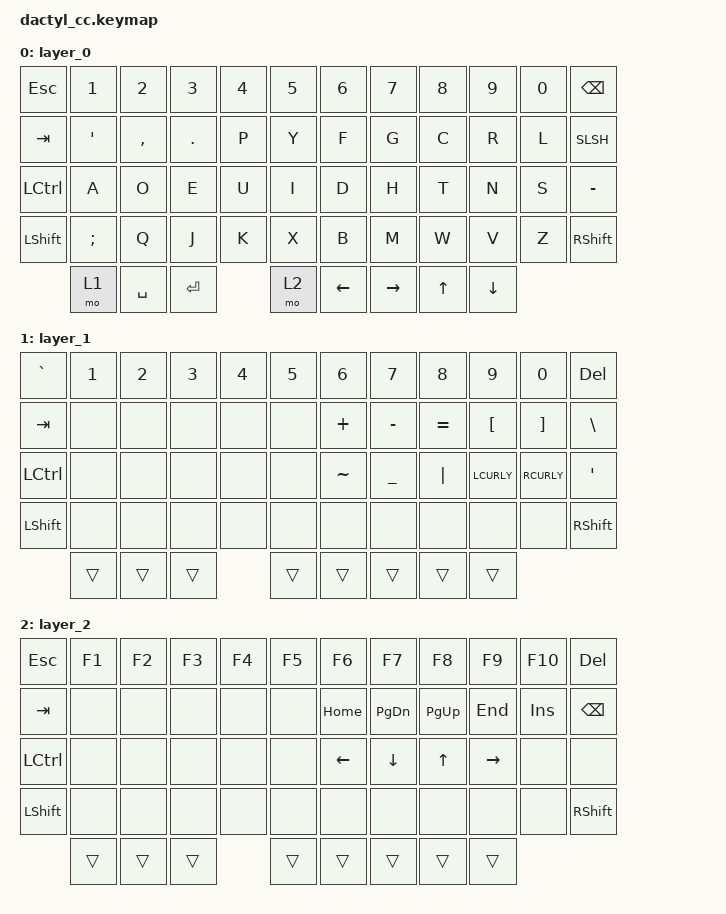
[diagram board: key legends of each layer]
#include <behaviors.dtsi>
#include <dt-bindings/zmk/keys.h>

&sl {
    release-after-ms = <5000>;
};

&kscan0 {
    debounce-press-ms = <30>;
    debounce-release-ms = <30>;
};

 / {
    keymap {
        compatible = "zmk,keymap";

        layer_0 {
            bindings = <
                &kp ESC     &kp N1     &kp N2     &kp N3     &kp N4     &kp N5     &kp N6     &kp N7     &kp N8     &kp N9     &kp N0     &kp BSPC
                &kp TAB     &kp SQT    &kp COMMA  &kp DOT    &kp P      &kp Y      &kp F      &kp G      &kp C      &kp R      &kp L      &kp SLSH
                &kp LCTRL   &kp A      &kp O      &kp E      &kp U      &kp I      &kp D      &kp H      &kp T      &kp N      &kp S      &kp MINUS
                &kp LSHFT   &kp SEMI   &kp Q      &kp J      &kp K      &kp X      &kp B      &kp M      &kp W      &kp V      &kp Z      &kp RSHFT
                            &mo 1      &kp SPACE  &kp ENTER             &mo 2      &kp LEFT   &kp RIGHT  &kp UP     &kp DOWN
            >;
        };

        layer_1 {
            bindings = <
                &kp GRAVE   &kp N1     &kp N2     &kp N3     &kp N4     &kp N5     &kp N6     &kp N7     &kp N8     &kp N9     &kp N0     &kp DEL
                &kp TAB     &none      &none      &none      &none      &none      &kp PLUS   &kp MINUS  &kp EQUAL  &kp LBKT   &kp RBKT   &kp BSLH
                &kp LCTRL   &none      &none      &none      &none      &none      &kp TILDE  &kp UNDER  &kp PIPE   &kp LCURLY &kp RCURLY &kp QUOT
                &kp LSHFT   &none      &none      &none      &none      &none      &none      &none      &none      &none      &none      &kp RSHFT
                            &trans     &trans     &trans                &trans     &trans     &trans     &trans     &trans
            >;
        };

        layer_2 {
            bindings = <
                &kp ESC     &kp F1     &kp F2     &kp F3     &kp F4     &kp F5     &kp F6     &kp F7     &kp F8     &kp F9     &kp F10    &kp DEL
                &kp TAB     &none      &none      &none      &none      &none      &kp HOME   &kp PG_DN  &kp PG_UP  &kp END    &kp INS    &kp BSPC
                &kp LCTRL   &none      &none      &none      &none      &none      &kp LEFT   &kp DOWN   &kp UP     &kp RIGHT  &none      &none
                &kp LSHFT   &none      &none      &none      &none      &none      &none      &none      &none      &none      &none      &kp RSHFT
                            &trans     &trans     &trans                &trans     &trans     &trans     &trans     &trans
            >;
        };
    };
};
